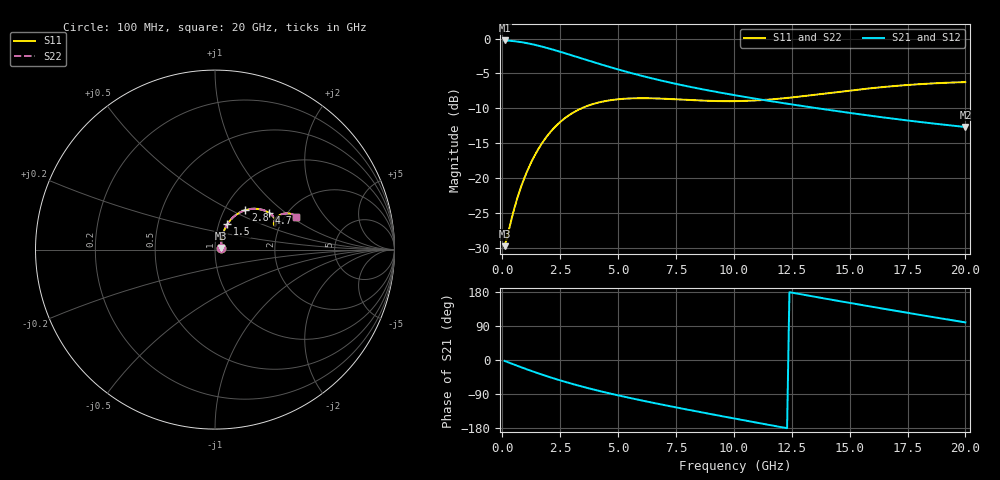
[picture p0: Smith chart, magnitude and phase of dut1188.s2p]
! Touchstone file exported from HFSS 2024.1.0
!  File:  C:/UserFiles/LocalFiles/RDL_TSV_Batchsim/temp_RDL_TSV_1188_1780127178.aedt
!  Generated:  04:03:42 PM May 30, 2026
!  Design:  RDL_TSV
!  Project:  temp_RDL_TSV_1188_1780127178
!  Setup:  Setup1
!  Solution:  Sweep
! Variables:
!  dtsv = 12.54um
!  hbump = 3um
!  htsv = 69.47um
!  ldown = 428.52um
!  lrdl = 628.6um
!  p = 40
!  p1 = 57.74um
!  rhole = 10um
!  subl = 3799.96um
!  t = 450um
!  tdown = 4.12um
!  trdl = 3.35um
!  viad = 10um
!  wdown = 13.01um
!  wrdl = 11.25um
!  xbump = 18um
# GHz S MA R 50.000000
! Terminal data exported
! Port[1] = TM1_1_T1
! Port[2] = TM1_4_T1
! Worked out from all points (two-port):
!   200 points, 100 MHz to 20 GHz, reference 50 ohm
!   highest |S21| = -0.28 dB at 100 MHz (marker M1); lowest = -12.6 dB at 20 GHz (marker M2)
!   |S21| within 3 dB of the highest: start of sweep to 3.846 GHz
!   lowest |S11| = -29.7 dB at 100 MHz (marker M3), VSWR 1.07, Z = 53.2 + j1.05 ohm
!   |S11| at or under -10 dB: start of sweep to 3.404 GHz
!   |S22| runs from -29.7 to -6.2 dB; largest |S21 - S12| = 9.8e-15
!   S11 on the Smith chart (normalised r, x): 100 MHz: 1.06, +0.02; 1.5 GHz: 1.10, +0.32; 2.8 GHz: 1.25, +0.59; 4.7 GHz: 1.63, +0.77; 20 GHz: 2.29, +1.10
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0.1  0.03283 17.4  0.9684 -2.4  0.9684 -2.4  0.03283 17.4
! Gamma 0 0 0 0
! Port Impedance 50 0 50 0
0.5  0.0595 53.0  0.9576 -11.9  0.9576 -11.9  0.0595 53.0
0.8  0.08604 61.2  0.943 -18.8  0.943 -18.8  0.08604 61.2
1.1  0.1152 64.2  0.924 -25.5  0.924 -25.5  0.1152 64.2
1.5  0.1563 64.1  0.8934 -34.1  0.8934 -34.1  0.1563 64.1
2.1  0.2168 59.8  0.841 -46.2  0.841 -46.2  0.2169 59.8
2.4  0.2444 56.7  0.8134 -51.9  0.8134 -51.9  0.2446 56.8
2.8  0.2771 52.4  0.7765 -59.2  0.7765 -59.2  0.2772 52.5
3.5  0.3213 45.0  0.7143 -71.0  0.7143 -71.0  0.3216 45.1
4.1  0.3469 39.4  0.6654 -80.3  0.6654 -80.3  0.3473 39.4
4.7  0.3629 34.5  0.6214 -89.1  0.6214 -89.1  0.3634 34.5
5.7  0.374 28.2  0.5587 -102.7  0.5587 -102.7  0.3745 28.2
6.8  0.3724 23.8  0.5034 -116.6  0.5034 -116.6  0.373 23.9
7.6  0.3671 22.2  0.4702 -126.3  0.4702 -126.3  0.3678 22.2
8.4  0.3615 21.7  0.4416 -135.7  0.4416 -135.7  0.3622 21.7
10.1  0.3569 23.2  0.392 -155.3  0.392 -155.3  0.3576 23.2
11.7  0.3682 25.9  0.3545 -173.3  0.3545 -173.3  0.3688 25.9
13.4  0.3945 27.8  0.3211 167.9  0.3211 167.9  0.3949 27.7
15  0.4246 27.8  0.2942 150.7  0.2942 150.7  0.4249 27.8
16.7  0.454 26.4  0.2697 132.8  0.2697 132.8  0.4542 26.4
18.3  0.4748 24.4  0.2503 116.4  0.2503 116.4  0.4751 24.3
20  0.4881 22.0  0.2333 99.2  0.2333 99.2  0.4884 22.0
